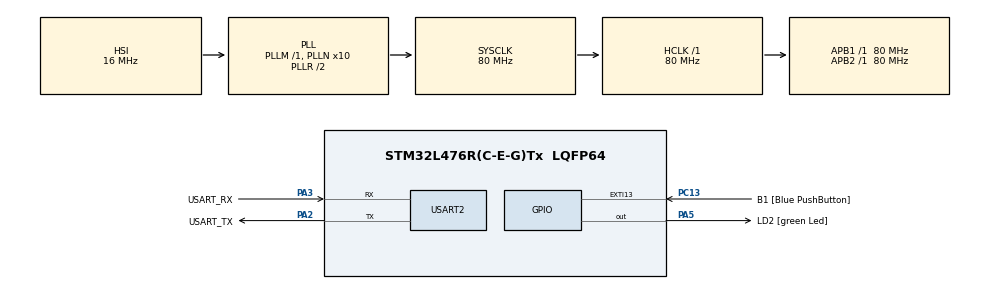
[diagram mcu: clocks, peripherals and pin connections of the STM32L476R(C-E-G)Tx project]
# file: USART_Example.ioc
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Mcu.Family=STM32L4
RCC.MSI_VALUE=4000000
RCC.PLLSourceVirtual=RCC_PLLSOURCE_HSI
PA14\ (JTCK-SWCLK).Mode=Serial_Wire
PA2.GPIO_PuPd=GPIO_NOPULL
RCC.CortexFreq_Value=80000000
PH0-OSC_IN\ (PH0).Signal=RCC_OSC_IN
PC13.Signal=GPXTI13
PA3.GPIO_PuPd=GPIO_NOPULL
PA2.GPIO_Speed=GPIO_SPEED_FREQ_VERY_HIGH
PC15-OSC32_OUT\ (PC15).Signal=RCC_OSC32_OUT
PC15-OSC32_OUT\ (PC15).Mode=LSE-External-Oscillator
PA14\ (JTCK-SWCLK).GPIO_Label=TCK
PB3\ (JTDO-TRACESWO).GPIO_Label=SWO
PC13.GPIO_Label=B1 [Blue PushButton]
PA3.GPIO_Speed=GPIO_SPEED_FREQ_VERY_HIGH
NVIC.USART2_IRQn=true\:0\:0\:false\:false\:true\:true\:true
PH1-OSC_OUT\ (PH1).Signal=RCC_OSC_OUT
RCC.SYSCLKSource=RCC_SYSCLKSOURCE_PLLCLK
ProjectManager.StackSize=0x400
PB3\ (JTDO-TRACESWO).Signal=SYS_JTDO-SWO
PC14-OSC32_IN\ (PC14).Mode=LSE-External-Oscillator
PA14\ (JTCK-SWCLK).Signal=SYS_JTCK-SWCLK
PA3.Mode=Asynchronous
ProjectManager.TargetToolchain=STM32CubeIDE
PA3.GPIO_Mode=GPIO_MODE_AF_PP
RCC.HCLKFreq_Value=80000000
RCC.APB2TimFreq_Value=80000000
RCC.USBFreq_Value=64000000
RCC.AHBFreq_Value=80000000
RCC.PREFETCH_ENABLE=1
PA5.Signal=GPIO_Output
RCC.HSE_VALUE=8000000
board=NUCLEO-L476RG
USART2.VirtualMode-Asynchronous=VM_ASYNC
RCC.VCOOutputFreq_Value=160000000
RCC.APB2Freq_Value=80000000
PA5.GPIO_ModeDefaultOutputPP=GPIO_MODE_OUTPUT_PP
PA13\ (JTMS-SWDIO).GPIO_Label=TMS
PA5.GPIO_PuPd=GPIO_NOPULL
RCC.ADCFreq_Value=64000000
PC13.GPIO_PuPd=GPIO_NOPULL
Mcu.Name=STM32L476R(C-E-G)Tx
PA2.Signal=USART2_TX
PA13\ (JTMS-SWDIO).Mode=Serial_Wire
RCC.SYSCLKFreq_VALUE=80000000
Mcu.Package=LQFP64
PA5.GPIO_Label=LD2 [green Led]
PC13.GPIO_ModeDefaultEXTI=GPIO_MODE_IT_FALLING
PC14-OSC32_IN\ (PC14).Signal=RCC_OSC32_IN
PA2.GPIO_Label=USART_TX
ProjectManager.HeapSize=0x200
RCC.HSI_VALUE=16000000
PA5.GPIO_Speed=GPIO_SPEED_FREQ_LOW
NVIC.PriorityGroup=NVIC_PRIORITYGROUP_4
RCC.PLLN=10
RCC.APB1TimFreq_Value=80000000
PA2.Mode=Asynchronous
PA13\ (JTMS-SWDIO).Signal=SYS_JTMS-SWDIO
RCC.APB1Freq_Value=80000000
PA3.GPIO_Label=USART_RX
PA3.Signal=USART2_RX
PA2.GPIO_Mode=GPIO_MODE_AF_PP

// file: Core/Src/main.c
/* USER CODE BEGIN Header */
/**
  ******************************************************************************
  * @file           : main.c
  * @brief          : Main program body
  ******************************************************************************
  * @attention
  *
  * <h2><center>&copy; Copyright (c) 2021 STMicroelectronics.
  * All rights reserved.</center></h2>
  *
  * This software component is licensed by ST under BSD 3-Clause license,
  * the "License"; You may not use this file except in compliance with the
  * License. You may obtain a copy of the License at:
  *                        opensource.org/licenses/BSD-3-Clause
  *
  ******************************************************************************
  */
/* USER CODE END Header */
#include "main.h"

/* USER CODE BEGIN Includes */
#include <stdio.h>
/* USER CODE END Includes */

UART_HandleTypeDef huart2;

/* USER CODE BEGIN PV */
uint8_t tx_buff[128] = {};
uint8_t rx_buff[128] = {};
uint8_t rx_data = 0;
uint8_t rx_index = 0;
/* USER CODE END PV */

void SystemClock_Config(void);
static void MX_GPIO_Init(void);
static void MX_USART2_UART_Init(void);

/* USER CODE BEGIN 0 */
void HAL_UART_RxCpltCallback(UART_HandleTypeDef *huart)
{
	if(huart->Instance == USART2) {
		if(rx_data != 0x0A)
			rx_buff[rx_index++] = rx_data;
		else {
			HAL_UART_Transmit(&huart2, rx_buff, rx_index, 100);
			for(int i = 0; i < rx_index; i++) {
				rx_buff[i] = 0;
			}
			rx_index = 0;
		}

		HAL_UART_Receive_IT(&huart2, &rx_data, 1);
	}
}
/* USER CODE END 0 */

int main(void)
{

  /* MCU Configuration--------------------------------------------------------*/

  /* Reset of all peripherals, Initializes the Flash interface and the Systick. */
  HAL_Init();

  /* Configure the system clock */
  SystemClock_Config();

  /* Initialize all configured peripherals */
  MX_GPIO_Init();
  MX_USART2_UART_Init();
  /* USER CODE BEGIN 2 */

  HAL_UART_Receive_IT(&huart2, &rx_data, 1);

  snprintf(tx_buff, sizeof(tx_buff), "Hello Digital Design\r\n");
  printf(tx_buff);
  /* USER CODE END 2 */

  /* Infinite loop */
  /* USER CODE BEGIN WHILE */
  while (1)
  {
	 //if(HAL_UART_Transmit(&huart2, "Test ", 6, 100) != HAL_OK)
		 //Error_Handler();

	 //HAL_Delay(500);
    /* USER CODE END WHILE */

  }
}

void SystemClock_Config(void)
{
  RCC_OscInitTypeDef RCC_OscInitStruct = {0};
  RCC_ClkInitTypeDef RCC_ClkInitStruct = {0};
  RCC_PeriphCLKInitTypeDef PeriphClkInit = {0};

  /** Initializes the RCC Oscillators according to the specified parameters
  * in the RCC_OscInitTypeDef structure.
  */
  RCC_OscInitStruct.OscillatorType = RCC_OSCILLATORTYPE_HSI;
  RCC_OscInitStruct.HSIState = RCC_HSI_ON;
  RCC_OscInitStruct.HSICalibrationValue = RCC_HSICALIBRATION_DEFAULT;
  RCC_OscInitStruct.PLL.PLLState = RCC_PLL_ON;
  RCC_OscInitStruct.PLL.PLLSource = RCC_PLLSOURCE_HSI;
  RCC_OscInitStruct.PLL.PLLM = 1;
  RCC_OscInitStruct.PLL.PLLN = 10;
  RCC_OscInitStruct.PLL.PLLP = RCC_PLLP_DIV7;
  RCC_OscInitStruct.PLL.PLLQ = RCC_PLLQ_DIV2;
  RCC_OscInitStruct.PLL.PLLR = RCC_PLLR_DIV2;
  if (HAL_RCC_OscConfig(&RCC_OscInitStruct) != HAL_OK)
  {
    Error_Handler();
  }
  /** Initializes the CPU, AHB and APB buses clocks
  */
  RCC_ClkInitStruct.ClockType = RCC_CLOCKTYPE_HCLK|RCC_CLOCKTYPE_SYSCLK
                              |RCC_CLOCKTYPE_PCLK1|RCC_CLOCKTYPE_PCLK2;
  RCC_ClkInitStruct.SYSCLKSource = RCC_SYSCLKSOURCE_PLLCLK;
  RCC_ClkInitStruct.AHBCLKDivider = RCC_SYSCLK_DIV1;
  RCC_ClkInitStruct.APB1CLKDivider = RCC_HCLK_DIV1;
  RCC_ClkInitStruct.APB2CLKDivider = RCC_HCLK_DIV1;

  if (HAL_RCC_ClockConfig(&RCC_ClkInitStruct, FLASH_LATENCY_4) != HAL_OK)
  {
    Error_Handler();
  }
  PeriphClkInit.PeriphClockSelection = RCC_PERIPHCLK_USART2;
  PeriphClkInit.Usart2ClockSelection = RCC_USART2CLKSOURCE_PCLK1;
  if (HAL_RCCEx_PeriphCLKConfig(&PeriphClkInit) != HAL_OK)
  {
    Error_Handler();
  }
  /** Configure the main internal regulator output voltage
  */
  if (HAL_PWREx_ControlVoltageScaling(PWR_REGULATOR_VOLTAGE_SCALE1) != HAL_OK)
  {
    Error_Handler();
  }
}

static void MX_USART2_UART_Init(void)
{

  huart2.Instance = USART2;
  huart2.Init.BaudRate = 115200;
  huart2.Init.WordLength = UART_WORDLENGTH_8B;
  huart2.Init.StopBits = UART_STOPBITS_1;
  huart2.Init.Parity = UART_PARITY_NONE;
  huart2.Init.Mode = UART_MODE_TX_RX;
  huart2.Init.HwFlowCtl = UART_HWCONTROL_NONE;
  huart2.Init.OverSampling = UART_OVERSAMPLING_16;
  huart2.Init.OneBitSampling = UART_ONE_BIT_SAMPLE_DISABLE;
  huart2.AdvancedInit.AdvFeatureInit = UART_ADVFEATURE_NO_INIT;
  if (HAL_UART_Init(&huart2) != HAL_OK)
  {
    Error_Handler();
  }

}

static void MX_GPIO_Init(void)
{
  GPIO_InitTypeDef GPIO_InitStruct = {0};

  /* GPIO Ports Clock Enable */
  __HAL_RCC_GPIOC_CLK_ENABLE();
  __HAL_RCC_GPIOH_CLK_ENABLE();
  __HAL_RCC_GPIOA_CLK_ENABLE();
  __HAL_RCC_GPIOB_CLK_ENABLE();

  /*Configure GPIO pin Output Level */
  HAL_GPIO_WritePin(LD2_GPIO_Port, LD2_Pin, GPIO_PIN_RESET);

  /*Configure GPIO pin : B1_Pin */
  GPIO_InitStruct.Pin = B1_Pin;
  GPIO_InitStruct.Mode = GPIO_MODE_IT_FALLING;
  GPIO_InitStruct.Pull = GPIO_NOPULL;
  HAL_GPIO_Init(B1_GPIO_Port, &GPIO_InitStruct);

  /*Configure GPIO pin : LD2_Pin */
  GPIO_InitStruct.Pin = LD2_Pin;
  GPIO_InitStruct.Mode = GPIO_MODE_OUTPUT_PP;
  GPIO_InitStruct.Pull = GPIO_NOPULL;
  GPIO_InitStruct.Speed = GPIO_SPEED_FREQ_LOW;
  HAL_GPIO_Init(LD2_GPIO_Port, &GPIO_InitStruct);

}

/* USER CODE BEGIN 4 */
int __io_putchar(int ch)
{
	uint8_t c[1];
	c[0] = ch & 0x00FF;
	HAL_UART_Transmit(&huart2, &*c, 1, 10);
	return ch;
}

int _write(int file,char *ptr, int len)
{
	int DataIdx;
	for(DataIdx= 0; DataIdx< len; DataIdx++)
	{
		__io_putchar(*ptr++);
	}
	return len;
}
/* USER CODE END 4 */

void Error_Handler(void)
{
  __disable_irq();
  while (1)
  {
  }
}

/************************ (C) COPYRIGHT STMicroelectronics *****END OF FILE****/
